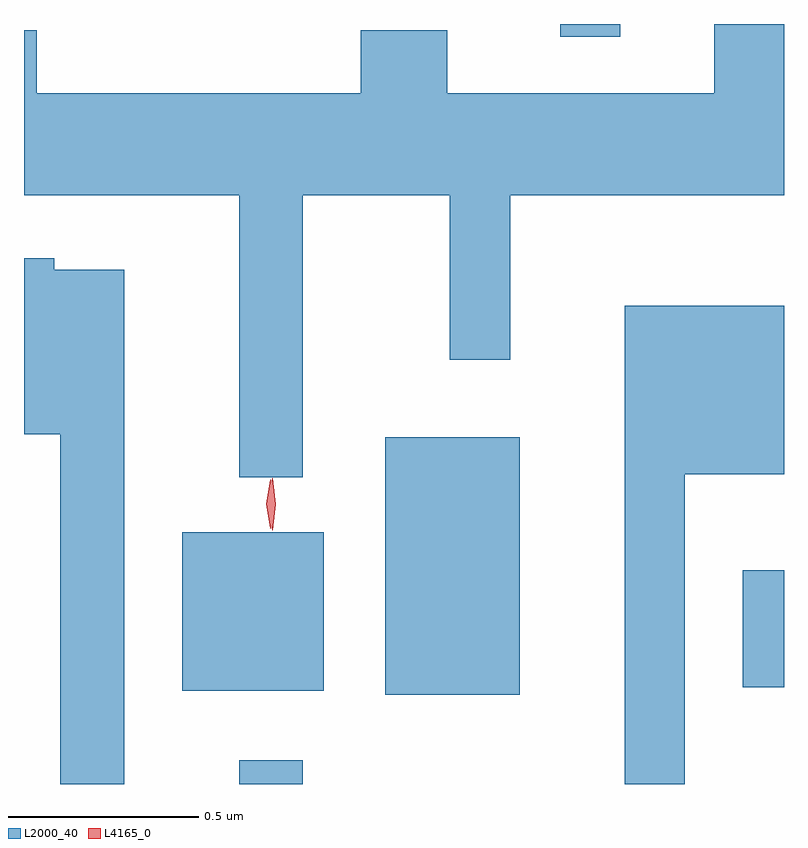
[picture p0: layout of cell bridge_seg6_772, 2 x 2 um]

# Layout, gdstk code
import gdstk
lib = gdstk.Library(unit=1e-6, precision=1e-09)
def R(c, l, rs):  # rectangles x0, y0, x1, y1
    for r in rs: c.add(gdstk.rectangle(r[:2], r[2:], *l))
def P(c, l, *ps):  # polygons
    for p in ps: c.add(gdstk.Polygon(p, *l))
L2000_40 = (2000, 40)
L4165_0 = (4165, 0)

bridge_seg6_772 = lib.new_cell('bridge_seg6_772')
R(bridge_seg6_772, L2000_40, [(412.111,1575.126,412.279,1575.188), (412.496,1575.361,412.849,1576.039), (411.961,1575.371,412.334,1575.789), (413.436,1575.381,413.545,1575.689), (412.956,1577.093,413.114,1577.126)])
P(bridge_seg6_772, L2000_40, [(412.279,1576.676),(412.666,1576.676),(412.666,1576.243),(412.824,1576.243),(412.824,1576.676),(413.545,1576.676),(413.545,1577.126),(413.361,1577.126),(413.361,1576.944),(412.659,1576.944),(412.659,1577.109),(412.431,1577.109),(412.431,1576.944),(411.579,1576.944),(411.579,1577.109),(411.545,1577.109),(411.545,1576.676),(412.111,1576.676),(412.111,1575.933),(412.279,1575.933)],
  [(411.809,1576.479),(411.624,1576.479),(411.624,1576.509),(411.545,1576.509),(411.545,1576.046),(411.641,1576.046),(411.641,1575.126),(411.809,1575.126)],
  [(413.284,1575.941),(413.545,1575.941),(413.545,1576.384),(413.126,1576.384),(413.126,1575.126),(413.284,1575.126)])
P(bridge_seg6_772, L4165_0, [(412.198,1575.794),(412.198,1575.794),(412.188,1575.862),(412.198,1575.93),(412.198,1575.93),(412.199,1575.93),(412.208,1575.862),(412.199,1575.794)],
  [(412.193,1575.798),(412.193,1575.799),(412.183,1575.863),(412.193,1575.927),(412.193,1575.927),(412.194,1575.927),(412.203,1575.863),(412.194,1575.799)])

lib.write_gds('bridge_seg6_772.gds')
